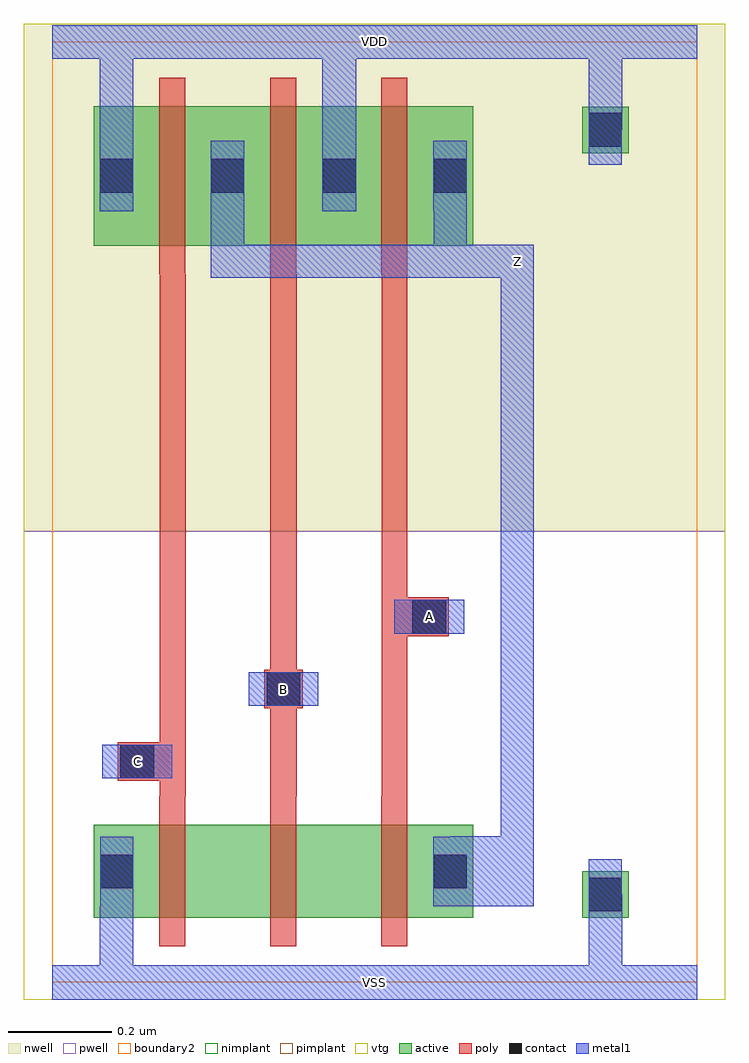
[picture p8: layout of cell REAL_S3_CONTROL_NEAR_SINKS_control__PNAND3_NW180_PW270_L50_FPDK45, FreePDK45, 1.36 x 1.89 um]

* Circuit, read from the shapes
.subckt REAL_S3_CONTROL_NEAR_SINKS_control__PNAND3_NW180_PW270_L50_FPDK45 A B C VDD VSS Z
M1 n1 C VSS VSS nfet w=0.18u l=0.05u
M2 n2 B n1 VSS nfet w=0.18u l=0.05u
M3 Z A n2 VSS nfet w=0.18u l=0.05u
M4 Z C VDD VDD pfet w=0.27u l=0.05u
M5 VDD B Z VDD pfet w=0.27u l=0.05u
M6 Z A VDD VDD pfet w=0.27u l=0.05u
.ends

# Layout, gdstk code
import gdstk
lib = gdstk.Library(unit=1e-6, precision=1e-09)
def R(c, l, rs):  # rectangles x0, y0, x1, y1
    for r in rs: c.add(gdstk.rectangle(r[:2], r[2:], *l))
active = (1, 0)
pwell = (2, 0)
nwell = (3, 0)
nimplant = (4, 0)
pimplant = (5, 0)
vtg = (6, 0)
poly = (9, 0)
contact = (10, 0)
metal1 = (11, 0)
boundary2 = (239, 0)

real_s3_control_near_sin = lib.new_cell('REAL_S3_CONTROL_NEAR_SINKS_control__PNAND3_NW180_PW270_L50_FPDK45_contact_8')
R(real_s3_control_near_sin, active, [(0,0.022,0.09,0.112)])
R(real_s3_control_near_sin, nwell, [(-0.055,-0.033,0.145,0.168)])
R(real_s3_control_near_sin, pimplant, [(0,0.022,0.09,0.112)])
R(real_s3_control_near_sin, contact, [(0.013,0.035,0.077,0.1)])
R(real_s3_control_near_sin, metal1, [(0.013,0,0.077,0.135)])
R(real_s3_control_near_sin, boundary2, [(-0.055,-0.033,0.145,0.168)])

c_real_s3_control_near_sin = lib.new_cell('REAL_S3_CONTROL_NEAR_SINKS_control__PNAND3_NW180_PW270_L50_FPDK45_pmos_m1_w0_270_sm1_dm1')
R(c_real_s3_control_near_sin, active, [(0,0,0.305,0.27)])
R(c_real_s3_control_near_sin, nwell, [(-0.08,-0.08,0.385,0.35)])
R(c_real_s3_control_near_sin, pimplant, [(0,0,0.305,0.27)])
R(c_real_s3_control_near_sin, vtg, [(-0.08,-0.08,0.385,0.35)])
R(c_real_s3_control_near_sin, poly, [(0.127,-0.055,0.177,0.325), (0.127,-0.055,0.177,0.325)])
R(c_real_s3_control_near_sin, metal1, [(0.013,0.068,0.077,0.203), (0.227,0.068,0.292,0.203)])
R(c_real_s3_control_near_sin, boundary2, [(-0.08,-0.08,0.385,0.35)])
c_real_s3_control_near_sin.add(gdstk.Reference(real_s3_control_near_sin, (0,0.068)))
c_real_s3_control_near_sin.add(gdstk.Reference(real_s3_control_near_sin, (0.215,0.068)))

c_real_s3_control_near_sin_ = lib.new_cell('REAL_S3_CONTROL_NEAR_SINKS_control__PNAND3_NW180_PW270_L50_FPDK45_contact_7')
R(c_real_s3_control_near_sin_, active, [(0,0.022,0.09,0.112)])
R(c_real_s3_control_near_sin_, pwell, [(-0.055,-0.033,0.145,0.168)])
R(c_real_s3_control_near_sin_, nimplant, [(0,0.022,0.09,0.112)])
R(c_real_s3_control_near_sin_, contact, [(0.013,0.035,0.077,0.1)])
R(c_real_s3_control_near_sin_, metal1, [(0.013,0,0.077,0.135)])
R(c_real_s3_control_near_sin_, boundary2, [(-0.055,-0.033,0.145,0.168)])

c_real_s3_control_near_sin__ = lib.new_cell('REAL_S3_CONTROL_NEAR_SINKS_control__PNAND3_NW180_PW270_L50_FPDK45_nmos_m1_w0_180_sm1_dactive')
R(c_real_s3_control_near_sin__, active, [(0,0,0.305,0.18), (0.215,0.045,0.305,0.135)])
R(c_real_s3_control_near_sin__, pwell, [(-0.08,-0.08,0.385,0.26)])
R(c_real_s3_control_near_sin__, nimplant, [(0,0,0.305,0.18)])
R(c_real_s3_control_near_sin__, vtg, [(-0.08,-0.08,0.385,0.26)])
R(c_real_s3_control_near_sin__, poly, [(0.127,-0.055,0.177,0.235), (0.127,-0.055,0.177,0.235)])
R(c_real_s3_control_near_sin__, metal1, [(0.013,0.022,0.077,0.157)])
R(c_real_s3_control_near_sin__, boundary2, [(-0.08,-0.08,0.385,0.26)])
c_real_s3_control_near_sin__.add(gdstk.Reference(c_real_s3_control_near_sin_, (0,0.022)))

c_real_s3_control_near_sin___ = lib.new_cell('REAL_S3_CONTROL_NEAR_SINKS_control__PNAND3_NW180_PW270_L50_FPDK45_nmos_m1_w0_180_sactive_dactive')
R(c_real_s3_control_near_sin___, active, [(0,0,0.305,0.18), (0,0.045,0.09,0.135), (0.215,0.045,0.305,0.135)])
R(c_real_s3_control_near_sin___, pwell, [(-0.08,-0.08,0.385,0.26)])
R(c_real_s3_control_near_sin___, nimplant, [(0,0,0.305,0.18)])
R(c_real_s3_control_near_sin___, vtg, [(-0.08,-0.08,0.385,0.26)])
R(c_real_s3_control_near_sin___, poly, [(0.127,-0.055,0.177,0.235), (0.127,-0.055,0.177,0.235)])
R(c_real_s3_control_near_sin___, boundary2, [(-0.08,-0.08,0.385,0.26)])

c_real_s3_control_near_sin____ = lib.new_cell('REAL_S3_CONTROL_NEAR_SINKS_control__PNAND3_NW180_PW270_L50_FPDK45_nmos_m1_w0_180_sactive_dm1')
R(c_real_s3_control_near_sin____, active, [(0,0,0.305,0.18), (0,0.045,0.09,0.135)])
R(c_real_s3_control_near_sin____, pwell, [(-0.08,-0.08,0.385,0.26)])
R(c_real_s3_control_near_sin____, nimplant, [(0,0,0.305,0.18)])
R(c_real_s3_control_near_sin____, vtg, [(-0.08,-0.08,0.385,0.26)])
R(c_real_s3_control_near_sin____, poly, [(0.127,-0.055,0.177,0.235), (0.127,-0.055,0.177,0.235)])
R(c_real_s3_control_near_sin____, metal1, [(0.227,0.022,0.292,0.157)])
R(c_real_s3_control_near_sin____, boundary2, [(-0.08,-0.08,0.385,0.26)])
c_real_s3_control_near_sin____.add(gdstk.Reference(c_real_s3_control_near_sin_, (0.215,0.022)))

c_real_s3_control_near_sin_____ = lib.new_cell('REAL_S3_CONTROL_NEAR_SINKS_control__PNAND3_NW180_PW270_L50_FPDK45_contact_9')
R(c_real_s3_control_near_sin_____, active, [(0,0.022,0.09,0.112)])
R(c_real_s3_control_near_sin_____, nwell, [(-0.055,-0.033,0.145,0.168)])
R(c_real_s3_control_near_sin_____, nimplant, [(0,0.022,0.09,0.112)])
R(c_real_s3_control_near_sin_____, contact, [(0.013,0.035,0.077,0.1)])
R(c_real_s3_control_near_sin_____, metal1, [(0.013,0,0.077,0.135)])
R(c_real_s3_control_near_sin_____, boundary2, [(-0.055,-0.033,0.145,0.168)])

c_real_s3_control_near_sin______ = lib.new_cell('REAL_S3_CONTROL_NEAR_SINKS_control__PNAND3_NW180_PW270_L50_FPDK45_contact_10')
R(c_real_s3_control_near_sin______, active, [(0,0.022,0.09,0.112)])
R(c_real_s3_control_near_sin______, pwell, [(-0.055,-0.033,0.145,0.168)])
R(c_real_s3_control_near_sin______, pimplant, [(0,0.022,0.09,0.112)])
R(c_real_s3_control_near_sin______, contact, [(0.013,0.035,0.077,0.1)])
R(c_real_s3_control_near_sin______, metal1, [(0.013,0,0.077,0.135)])
R(c_real_s3_control_near_sin______, boundary2, [(-0.055,-0.033,0.145,0.168)])

c_real_s3_control_near_sin_______ = lib.new_cell('REAL_S3_CONTROL_NEAR_SINKS_control__PNAND3_NW180_PW270_L50_FPDK45_contact_11')
R(c_real_s3_control_near_sin_______, poly, [(0.03,0,0.105,0.075)])
R(c_real_s3_control_near_sin_______, contact, [(0.035,0.005,0.1,0.07)])
R(c_real_s3_control_near_sin_______, metal1, [(0,0.005,0.135,0.07)])
R(c_real_s3_control_near_sin_______, boundary2, [(0,0,0.135,0.075)])

c_real_s3_control_near_sin________ = lib.new_cell('REAL_S3_CONTROL_NEAR_SINKS_control__PNAND3_NW180_PW270_L50_FPDK45_pnand3')
R(c_real_s3_control_near_sin________, pwell, [(-0.055,-0.033,1.302,0.873)])
R(c_real_s3_control_near_sin________, nwell, [(-0.055,0.873,1.302,1.855)])
R(c_real_s3_control_near_sin________, vtg, [(-0.055,-0.033,1.302,0.873), (-0.055,0.873,1.302,1.855)])
R(c_real_s3_control_near_sin________, poly, [(0.208,0.36,0.258,1.37), (0.422,0.36,0.473,1.37), (0.638,0.36,0.687,1.37), (0.165,0.39,0.208,0.465), (0.422,0.53,0.447,0.605), (0.638,0.67,0.73,0.745)])
R(c_real_s3_control_near_sin________, metal1, [(0,-0.033,1.248,0.033), (0.092,-0.033,0.157,0.147), (1.038,0,1.103,0.17), (0.77,0.147,0.9,0.283), (0.868,0.147,0.932,1.395), (0.097,0.395,0.232,0.46), (0.38,0.535,0.515,0.6), (0.662,0.675,0.797,0.74), (0.307,1.363,0.372,1.427), (0.34,1.363,0.9,1.427), (0.738,1.363,0.802,1.427), (0.77,1.363,0.9,1.427), (0.868,1.363,0.932,1.427), (0.307,1.395,0.372,1.56), (0.738,1.395,0.802,1.56), (0.092,1.492,0.157,1.852), (0.522,1.492,0.588,1.852), (1.038,1.65,1.103,1.82), (0,1.787,1.248,1.852)])
R(c_real_s3_control_near_sin________, boundary2, [(0,0,1.248,1.82), (0,0,1.248,1.82)])
c_real_s3_control_near_sin________.add(gdstk.Reference(c_real_s3_control_near_sin, (0.08,1.425)))
c_real_s3_control_near_sin________.add(gdstk.Reference(c_real_s3_control_near_sin, (0.295,1.425)))
c_real_s3_control_near_sin________.add(gdstk.Reference(c_real_s3_control_near_sin, (0.51,1.425)))
c_real_s3_control_near_sin________.add(gdstk.Reference(c_real_s3_control_near_sin__, (0.08,0.125)))
c_real_s3_control_near_sin________.add(gdstk.Reference(c_real_s3_control_near_sin___, (0.295,0.125)))
c_real_s3_control_near_sin________.add(gdstk.Reference(c_real_s3_control_near_sin____, (0.51,0.125)))
c_real_s3_control_near_sin________.add(gdstk.Reference(c_real_s3_control_near_sin_____, (1.025,1.582)))
c_real_s3_control_near_sin________.add(gdstk.Reference(c_real_s3_control_near_sin______, (1.025,0.103)))
c_real_s3_control_near_sin________.add(gdstk.Reference(c_real_s3_control_near_sin_______, (0.097,0.39)))
c_real_s3_control_near_sin________.add(gdstk.Reference(c_real_s3_control_near_sin_______, (0.38,0.53)))
c_real_s3_control_near_sin________.add(gdstk.Reference(c_real_s3_control_near_sin_______, (0.662,0.67)))

c_real_s3_control_near_sin_________ = lib.new_cell('REAL_S3_CONTROL_NEAR_SINKS_control__PNAND3_NW180_PW270_L50_FPDK45')
R(c_real_s3_control_near_sin_________, metal1, [(0,-0.033,1.248,0.033), (0.097,0.395,0.232,0.46), (0.38,0.535,0.515,0.6), (0.662,0.675,0.797,0.74), (0.868,1.363,0.932,1.427), (0,1.787,1.248,1.852)])
R(c_real_s3_control_near_sin_________, boundary2, [(0,0,1.248,1.82)])
c_real_s3_control_near_sin_________.add(gdstk.Reference(c_real_s3_control_near_sin________, (0,0)))
c_real_s3_control_near_sin_________.add(gdstk.Label('VDD', (0.624,1.82), layer=11, texttype=2))
c_real_s3_control_near_sin_________.add(gdstk.Label('VSS', (0.624,0), layer=11, texttype=2))
c_real_s3_control_near_sin_________.add(gdstk.Label('A', (0.73,0.707), layer=11, texttype=2))
c_real_s3_control_near_sin_________.add(gdstk.Label('B', (0.447,0.567), layer=11, texttype=2))
c_real_s3_control_near_sin_________.add(gdstk.Label('C', (0.165,0.427), layer=11, texttype=2))
c_real_s3_control_near_sin_________.add(gdstk.Label('Z', (0.9,1.395), layer=11, texttype=2))

lib.write_gds('REAL_S3_CONTROL_NEAR_SINKS_control__PNAND3_NW180_PW270_L50_FPDK45.gds')
